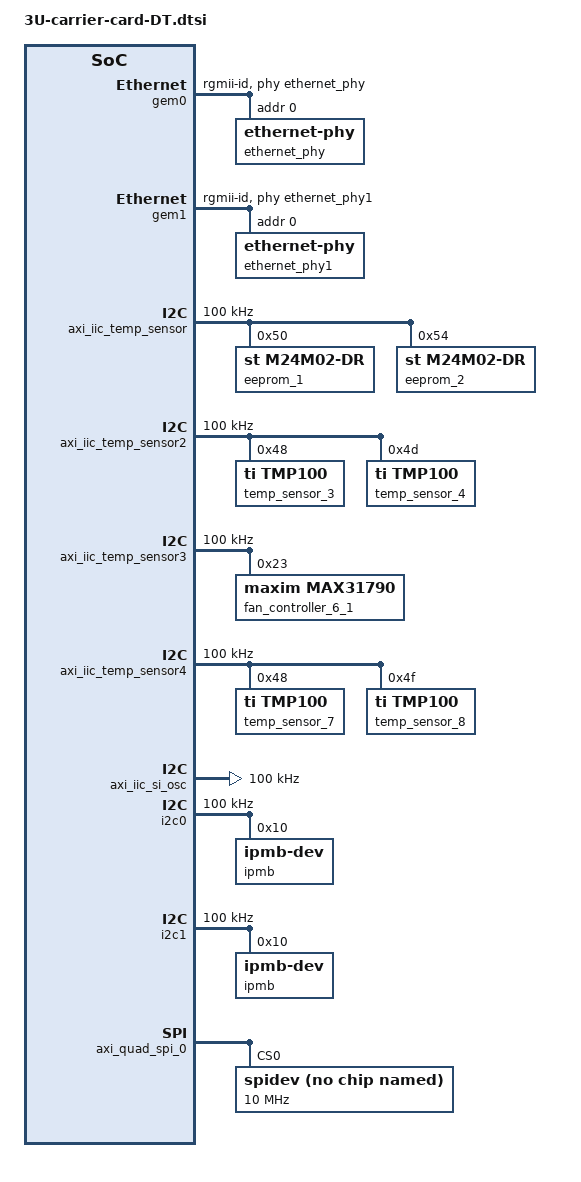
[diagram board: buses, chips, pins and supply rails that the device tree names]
/include/ "system-conf.dtsi"
/ {
};
&gem0 {
    compatible = "xlnx,zynq-gem", "cdns,gem";
    reg = <0xe000b000 0x1000>;
    status = "okay";
    interrupts = <0 22 4>;
    clocks = <&clkc 30>, <&clkc 30>, <&clkc 13>;
    clock-names = "pclk", "hclk", "tx_clk";
    #address-cells = <1>;
    #size-cells = <0>;
    enet-reset = <&gpio0 11 0>;
    phy-mode = "rgmii-id";
    xlnx,ptp-enet-clock = <0x69f6bcb>;
    phy-handle = <&ethernet_phy>;
    ethernet_phy: ethernet-phy@0 {
        reg = <0>;
    };
};

&gem1 {
    compatible = "xlnx,zynq-gem", "cdns,gem";
    reg = <0xe000c000 0x1000>;
    status = "okay";
    interrupts = <0 45 4>;
    clocks = <&clkc 31>, <&clkc 31>, <&clkc 14>;
    clock-names = "pclk", "hclk", "tx_clk";
    #address-cells = <1>;
    #size-cells = <0>;
    enet-reset = <&gpio0 9 0>;
    phy-mode = "rgmii-id";
    xlnx,ptp-enet-clock = <0x69f6bcb>;
    phy-handle = <&ethernet_phy1>;
    ethernet_phy1: ethernet-phy@0 {
        reg = <0>;
        device_type = "ethernet-phy";
    };
};

&axi_iic_temp_sensor {
    clock-frequency = <100000>;
    compatible = "xlnx,axi-iic-2.1", "xlnx,xps-iic-2.00.a";
    status = "okay";

    eeprom_1: eeprom@50 {
        compatible = "st,m24m02-dr", "atmel,24c2048";
        reg = <0x50>;
        num-addresses = <4>;
        pagesize = <256>;
        #address-cells = <1>;
        #size-cells = <0>;
    };
    eeprom_2: eeprom@54 {
        compatible = "st,m24m02-dr", "atmel,24c2048";
        reg = <0x54>;
        num-addresses = <4>;
        pagesize = <256>;
        #address-cells = <1>;
        #size-cells = <0>;
    };
};

&axi_iic_temp_sensor2 {
    clock-frequency = <100000>;
    compatible = "xlnx,axi-iic-2.1", "xlnx,xps-iic-2.00.a";
    status = "okay";

    temp_sensor_3: tmp100@48 {
        compatible = "ti,tmp100";
        reg = <0x48>;
        #address-cells = <1>;
        #size-cells = <0>;
    };

    temp_sensor_4: tmp100@4d {
        compatible = "ti,tmp100";
        reg = <0x4d>;
        #address-cells = <1>;
        #size-cells = <0>;
    };
};

&axi_iic_temp_sensor3 {
    clock-frequency = <100000>;
    compatible = "xlnx,axi-iic-2.1", "xlnx,xps-iic-2.00.a";
    status = "okay";
    
    fan_controller_6_1: max31790@23 {
        compatible = "maxim,max31790";
        reg = <0x23>;
        #address-cells = <1>;
        #size-cells = <0>;
    };
};

&axi_iic_temp_sensor4 {
    clock-frequency = <100000>;
    compatible = "xlnx,axi-iic-2.1", "xlnx,xps-iic-2.00.a";
    status = "okay";

    temp_sensor_7: tmp100@48 {
        compatible = "ti,tmp100";
        reg = <0x48>;
        #address-cells = <1>;
        #size-cells = <0>;
    };

    temp_sensor_8: tmp100@4f {
        compatible = "ti,tmp100";
        reg = <0x4f>;
        #address-cells = <1>;
        #size-cells = <0>;
    };

};

&axi_iic_fan_ctrl {
    clock-frequency = <100000>;
    compatible = "xlnx,axi-iic-2.1", "xlnx,xps-iic-2.00.a";
    status = "okay";

    max31790@20 {
        compatible = "maxim,max31790";
        reg = <0x20>;
        #address-cells = <1>;
        #size-cells = <0>;
    };
};

&axi_iic_si_osc {
    clock-frequency = <100000>;
    status = "okay";
};

&i2c0 {
    status = "okay";
    clock-frequency = <100000>;
    ipmb@45 {
        compatible = "ipmb-dev";
        reg = <0x10>;
        i2c-protocol;
        bmc-addr = <0x20>;
    };
};

&i2c1 {
    status = "okay";
    clock-frequency = <100000>;
    ipmb@45 {
        compatible = "ipmb-dev";
        reg = <0x10>;
        i2c-protocol;
        bmc-addr = <0x20>;
    };
};



&{/axi/spi@e000d000/flash@0} {
    compatible = "micron,mt25qu02g", "jedec,spi-nor";
    reg = <0x0>;
    #address-cells = <1>;
    #size-cells = <1>;
    spi-tx-bus-width = <1>;
    spi-rx-bus-width = <2>;
    spi-max-frequency = <50000000>;
    partitions {
        compatible = "fixed-partitions";
        #address-cells = <1>;
        #size-cells = <1>;
        partition@0 {
            label = "qspi-boot";
            reg = <0x0 0x800000>; /* 8 MB */
        };
        partition@1 {
            label = "qspi-bootenv";
            reg = <0x800000 0x40000>; /* 256 KB */
        };
        partition@2 {
            label = "qspi-kernel";
            reg = <0x840000 0x4000000>; /* 64 MB */
        };
        partition@3 {
            label = "qspi-data";
            reg = <0x4840000 0x4000000>; /* 64 MB */
        };
        partition@4 {
            label = "qspi-logs";
            reg = <0x8840000 0x2000000>; /* 32 MB */
        };
        partition@5 {
            label = "qspi-sel";
            reg = <0xA840000 0x100000>; /* 1 MB */
        };
        partition@6 {
            label = "qspi-policybits";
            reg = <0xA940000 0x80000>; /* 512 KB */
        };
        partition@7 {
            label = "qspi-persistent";
            reg = <0xAA20000 0x80000>; /* 512 KB */
        };
        partition@8 {
            label = "qspi-config";
            reg = <0xAAB0000 0x80000>; /* 512 KB */
        };
    };
};

&axi_quad_spi_0 {
    status = "okay";

    spidev@0 {
        compatible = "spidev";
        reg = <0>;
        spi-max-frequency = <10000000>;
    };

};

&xadc_wiz_0 {
    #io-channel-cells = <1>;
    xlnx,channels {
        channel@0 {
            reg = <0>;
        };
        channel@1 {
            reg = <1>;
        };
        channel@2 {
            reg = <2>;
        };
        channel@3 {
            reg = <3>;
        };
        channel@4 {
            reg = <4>;
        };
        channel@5 {
            reg = <5>;
        };
        channel@6 {
            reg = <6>;
        };
        channel@7 {
            reg = <7>;
        };
        channel@8 {
            reg = <8>;
        };
    };
};

&adc {
    status = "disabled";
    #io-channel-cells = <1>;
    xlnx,channels {
        channel@0 {
            reg = <0>;
            xlnx,bipolar;
        };
        channel@1 {
            reg = <1>;
            xlnx,bipolar;
        };
        channel@2 {
            reg = <2>;
            xlnx,bipolar;
        };
        channel@3 {
            reg = <3>;
            xlnx,bipolar;
        };
        channel@4 {
            reg = <4>;
            xlnx,bipolar;
        };
        channel@5 {
            reg = <5>;
            xlnx,bipolar;
        };
    };
};
